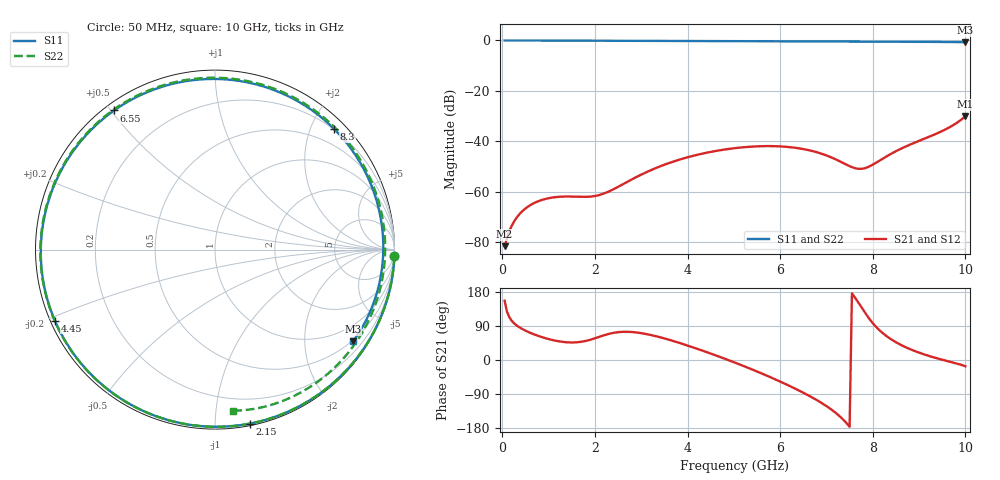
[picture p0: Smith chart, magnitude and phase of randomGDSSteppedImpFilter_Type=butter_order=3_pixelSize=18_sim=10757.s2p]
! freq	dB(S11)	phase(S11)	dB(S12)	phase(S12)
!  dB(S21)	phase(S21)	dB(S22)	phase(S22)
!S-par simulation data
#  GHz  S  DB  R 50
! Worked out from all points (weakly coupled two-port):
!   200 points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, 50 MHz to 10 GHz, reference 50 ohm
!   highest |S21| = -30.05 dB at 10 GHz (marker M1); lowest = -81.6 dB at 50 MHz (marker M2)
!   lowest |S11| = -0.7 dB at 10 GHz (marker M3), VSWR 24.81, Z = 23.7 - j162 ohm
!   |S11| at or under -10 dB: nowhere
!   |S22| runs from -0.9 to 0.0 dB; largest |S21 - S12| = 0
!   S11 on the Smith chart (normalised r, x): 50 MHz: 0, -60; 2.15 GHz: 0.01, -1.22; 4.45 GHz: 0.01, -0.21; 6.55 GHz: 0.03, +0.51; 8.3 GHz: 0.19, +2.38; 10 GHz: 0.47, -3.25
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0.05  -0.00 -1.9  -81.61 156.5  -81.61 156.5  -0.00 -2.1
0.3  -0.01 -11.4  -70.55 92.2  -70.55 92.2  -0.01 -12.7
0.6  -0.02 -22.7  -65.39 71.9  -65.39 71.9  -0.02 -25.3
1.05  -0.05 -39.4  -62.42 53.6  -62.42 53.6  -0.05 -43.9
1.75  -0.08 -64.6  -62.05 49.0  -62.05 49.0  -0.09 -72.0
2.15  -0.10 -78.7  -61.02 63.5  -61.02 63.5  -0.11 -87.8
2.75  -0.12 -99.3  -55.59 74.2  -55.59 74.2  -0.14 -110.9
3.4  -0.15 -121.0  -49.99 60.3  -49.99 60.3  -0.17 -135.7
3.95  -0.18 -139.3  -46.60 40.2  -46.60 40.2  -0.20 -157.0
4.45  -0.21 -156.1  -44.40 19.2  -44.40 19.2  -0.23 -176.8
5.05  -0.25 -176.7  -42.67 -8.2  -42.67 -8.2  -0.28 158.1
5.9  -0.32 152.1  -41.95 -51.4  -41.95 -51.4  -0.34 119.4
6.55  -0.38 125.9  -43.27 -89.6  -43.27 -89.6  -0.38 87.0
6.7  -0.39 119.6  -43.89 -99.5  -43.89 -99.5  -0.39 79.2
7.15  -0.42 99.8  -46.76 -134.7  -46.76 -134.7  -0.41 55.5
7.7  -0.46 74.2  -50.93 149.5  -50.93 149.5  -0.43 26.3
8.3  -0.49 45.3  -45.95 62.8  -45.95 62.8  -0.47 -4.7
8.35  -0.50 42.9  -45.42 58.4  -45.42 58.4  -0.47 -7.2
8.75  -0.52 23.5  -41.76 31.6  -41.76 31.6  -0.52 -26.7
9.15  -0.55 4.5  -38.71 13.1  -38.71 13.1  -0.58 -45.5
9.6  -0.60 -16.0  -35.01 -2.4  -35.01 -2.4  -0.69 -65.8
10  -0.70 -33.6  -30.05 -16.5  -30.05 -16.5  -0.89 -83.6
